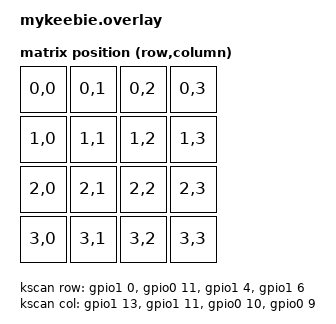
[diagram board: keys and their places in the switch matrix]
// Shield overlay: https://zmk.dev/docs/development/hardware-integration/new-shield#shield-overlays
// Kscan (key scan) config: https://zmk.dev/docs/config/kscan
// Matrix transform: https://zmk.dev/docs/config/layout#matrix-transform

#include <dt-bindings/zmk/matrix_transform.h>
#include <zephyr/dt-bindings/pinctrl/nrf-pinctrl.h>

// Override I2C pinctrl to add internal pull-ups
&pinctrl {
    i2c0_default: i2c0_default {
        group1 {
            psels = <NRF_PSEL(TWIM_SDA, 0, 17)>,
                <NRF_PSEL(TWIM_SCL, 0, 20)>;
            bias-pull-up;
        };
    };

    i2c0_sleep: i2c0_sleep {
        group1 {
            psels = <NRF_PSEL(TWIM_SDA, 0, 17)>,
                <NRF_PSEL(TWIM_SCL, 0, 20)>;
            low-power-enable;
        };
    };
};

/ {
    chosen {
        zmk,kscan = &kscan;
        zmk,physical-layout = &default_layout;
        zephyr,display = &display;
    };

    default_layout: default_layout {
        compatible = "zmk,physical-layout";
        display-name = "Default Layout";
        transform = <&default_transform>;
    };

    default_transform: default_transform {
        compatible = "zmk,matrix-transform";
        columns = <4>;
        rows = <4>;
        map = <
            RC(0, 0) RC(0, 1) RC(0, 2) RC(0, 3)
            RC(1, 0) RC(1, 1) RC(1, 2) RC(1, 3)
            RC(2, 0) RC(2, 1) RC(2, 2) RC(2, 3)
            RC(3, 0) RC(3, 1) RC(3, 2) RC(3, 3)
        >;
    };

    kscan: kscan {
        compatible = "zmk,kscan-gpio-matrix";
        diode-direction = "col2row";
        wakeup-source;

        col-gpios
            = <&gpio1 13 GPIO_ACTIVE_HIGH>
            , <&gpio1 11 GPIO_ACTIVE_HIGH>
            , <&gpio0 10 GPIO_ACTIVE_HIGH>
            , <&gpio0  9 GPIO_ACTIVE_HIGH>
            ;
        row-gpios
            = <&gpio1  0 (GPIO_ACTIVE_HIGH | GPIO_PULL_DOWN)>
            , <&gpio0 11 (GPIO_ACTIVE_HIGH | GPIO_PULL_DOWN)>
            , <&gpio1  4 (GPIO_ACTIVE_HIGH | GPIO_PULL_DOWN)>
            , <&gpio1  6 (GPIO_ACTIVE_HIGH | GPIO_PULL_DOWN)>
            ;
    };
};

// The default pins for nice_nano are:
//   - SDA: P0.17
//   - SCK: P0.20
//
// Check the following ZMK source files for more details:
// zmk/app/module/boards/nicekeyboards/nice_nano/nice_nano.dts
// zmk/app/module/boards/nicekeyboards/nice_nano/nice_nano-pinctrl.dtsi
//
// Configs:
//   - CONFIG_ZMK_DISPLAY=y
//   - CONFIG_ZMK_DISPLAY_STATUS_SCREEN_BUILT_IN=y
//   - CONFIG_SSD1306=y
//
&pro_micro_i2c {
    status = "okay";
    compatible = "nordic,nrf-twim";

    display: ssd1306@3c {
        compatible = "solomon,ssd1306fb";
        reg = <0x3c>;
        width = <128>;
        height = <64>;
        segment-offset = <0>;
        page-offset = <0>;
        display-offset = <0>;
        multiplex-ratio = <63>;
        segment-remap;
        com-invdir;
        com-sequential;
        //inversion-on;
        prechargep = <0x22>;

	ready-time-ms = <20>;
    };
};
